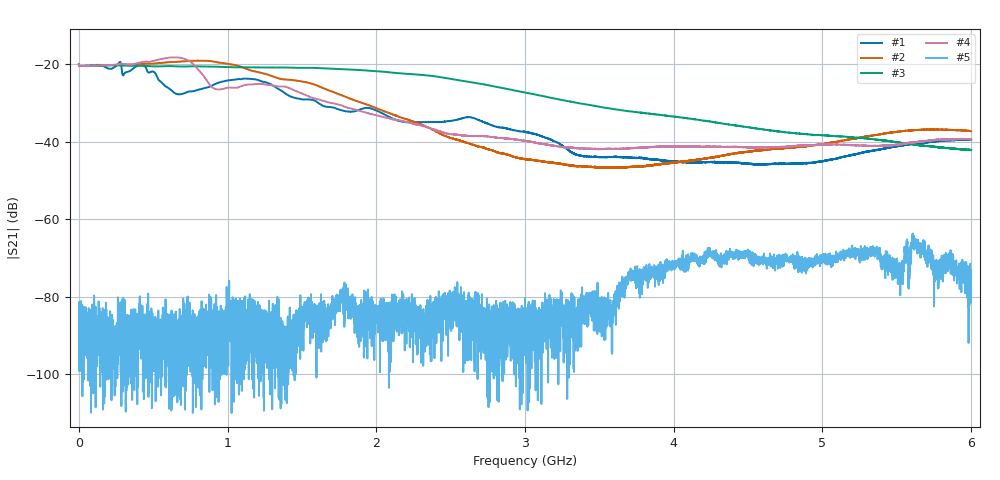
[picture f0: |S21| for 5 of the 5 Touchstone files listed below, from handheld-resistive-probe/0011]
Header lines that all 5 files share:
! Ref Plane: 0.000 mm
# MHZ S MA R  50
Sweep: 300 kHz to 6 GHz
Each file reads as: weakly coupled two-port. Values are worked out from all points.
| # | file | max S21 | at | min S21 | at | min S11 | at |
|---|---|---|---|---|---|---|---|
| 1 | flexground.s2p | -19.39 dB | 276.9 MHz | -45.9 dB | 4.586 GHz | -26.4 dB | 300 kHz |
| 2 | leafground.s2p | -19.05 dB | 817.5 MHz | -46.8 dB | 3.637 GHz | -26.5 dB | 300 kHz |
| 3 | tipground.s2p | -20.08 dB | 300 kHz | -42.2 dB | 5.999 GHz | -26.5 dB | 300 kHz |
| 4 | zground.s2p | -18.19 dB | 630.3 MHz | -41.9 dB | 3.515 GHz | -26.6 dB | 300 kHz |
| 5 | zin.s2p | -63.65 dB | 5.61 GHz | -110.0 dB | 1.027 GHz | -5.7 dB | 2.781 GHz |
